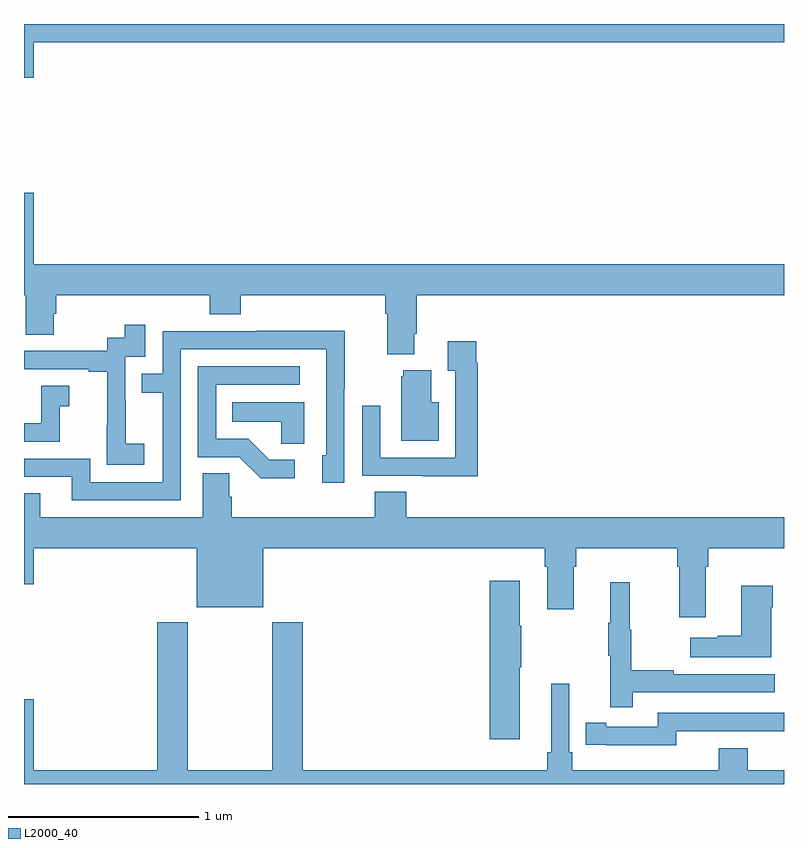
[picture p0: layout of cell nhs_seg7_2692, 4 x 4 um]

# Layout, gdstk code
import gdstk
lib = gdstk.Library(unit=1e-6, precision=1e-09)
def P(c, l, *ps):  # polygons
    for p in ps: c.add(gdstk.Polygon(p, *l))
L2000_40 = (2000, 40)

nhs_seg7_2692 = lib.new_cell('nhs_seg7_2692')
P(nhs_seg7_2692, L2000_40, [(285.052,1045.904),(289,1045.904),(289,1046),(285,1046),(285,1045.716),(285.052,1045.716)],
  [(287.053,1044.37),(287.066,1044.37),(287.066,1044.572),(289,1044.572),(289,1044.736),(285.052,1044.736),(285.052,1045.111),(285,1045.111),(285,1044.572),(285.01,1044.572),(285.01,1044.364),(285.157,1044.364),(285.157,1044.474),(285.17,1044.474),(285.17,1044.572),(285.977,1044.572),(285.977,1044.473),(286.142,1044.473),(286.142,1044.572),(286.901,1044.572),(286.901,1044.476),(286.913,1044.476),(286.913,1044.263),(287.053,1044.263)],
  [(285.634,1043.791),(285.536,1043.791),(285.536,1044.02),(285.534,1044.02),(285.534,1044.249),(285.639,1044.249),(285.639,1044.418),(285.531,1044.418),(285.531,1044.348),(285.438,1044.348),(285.438,1044.279),(285,1044.279),(285,1044.183),(285.341,1044.183),(285.341,1044.171),(285.437,1044.171),(285.437,1043.887),(285.436,1043.887),(285.436,1043.681),(285.634,1043.681)],
  [(285.825,1044.288),(286.59,1044.288),(286.59,1043.73),(286.571,1043.73),(286.571,1043.586),(286.686,1043.586),(286.686,1044.079),(286.689,1044.079),(286.689,1044.386),(286.225,1044.386),(286.225,1044.384),(285.729,1044.384),(285.729,1044.159),(285.619,1044.159),(285.619,1044.058),(285.729,1044.058),(285.729,1043.589),(285.348,1043.589),(285.348,1043.712),(285,1043.712),(285,1043.616),(285.251,1043.616),(285.251,1043.493),(285.825,1043.493)],
  [(287.387,1044.218),(287.38,1044.218),(287.38,1044.331),(287.231,1044.331),(287.231,1044.175),(287.271,1044.175),(287.271,1043.718),(286.875,1043.718),(286.875,1043.992),(286.779,1043.992),(286.779,1043.622),(287.095,1043.622),(287.095,1043.621),(287.387,1043.621)],
  [(286.426,1043.706),(286.291,1043.706),(286.18,1043.817),(286.011,1043.817),(286.011,1044.102),(286.45,1044.102),(286.45,1044.198),(285.915,1044.198),(285.915,1043.721),(286.134,1043.721),(286.247,1043.609),(286.426,1043.609)],
  [(287.182,1044.01),(287.143,1044.01),(287.143,1044.178),(286.997,1044.178),(286.997,1044.147),(286.985,1044.147),(286.985,1043.807),(287.182,1043.807)],
  [(285.189,1043.987),(285.238,1043.987),(285.238,1044.097),(285.09,1044.097),(285.09,1043.898),(285,1043.898),(285,1043.802),(285.189,1043.802)],
  [(286.474,1044.01),(286.096,1044.01),(286.096,1043.906),(286.353,1043.906),(286.353,1043.791),(286.474,1043.791)],
  [(288.589,1043.144),(288.602,1043.144),(288.602,1043.24),(289,1043.24),(289,1043.404),(287.012,1043.404),(287.012,1043.537),(286.847,1043.537),(286.847,1043.404),(286.094,1043.404),(286.094,1043.513),(286.08,1043.513),(286.08,1043.636),(285.941,1043.636),(285.941,1043.404),(285.085,1043.404),(285.085,1043.531),(285,1043.531),(285,1043.052),(285.052,1043.052),(285.052,1043.24),(285.908,1043.24),(285.908,1042.931),(286.258,1042.931),(286.258,1043.24),(287.741,1043.24),(287.741,1043.144),(287.753,1043.144),(287.753,1042.92),(287.893,1042.92),(287.893,1043.144),(287.906,1043.144),(287.906,1043.24),(288.437,1043.24),(288.437,1043.144),(288.449,1043.144),(288.449,1042.878),(288.589,1042.878)],
  [(287.608,1042.615),(287.616,1042.615),(287.616,1042.832),(287.608,1042.832),(287.608,1043.071),(287.45,1043.071),(287.45,1042.236),(287.608,1042.236)],
  [(288.203,1042.482),(288.952,1042.482),(288.952,1042.578),(288.419,1042.578),(288.419,1042.598),(288.196,1042.598),(288.196,1042.812),(288.188,1042.812),(288.188,1043.062),(288.086,1043.062),(288.086,1042.849),(288.075,1042.849),(288.075,1042.675),(288.086,1042.675),(288.086,1042.404),(288.203,1042.404)],
  [(288.934,1042.931),(288.942,1042.931),(288.942,1043.044),(288.776,1043.044),(288.776,1042.781),(288.65,1042.781),(288.65,1042.771),(288.507,1042.771),(288.507,1042.667),(288.934,1042.667)],
  [(289,1042.072),(288.809,1042.072),(288.809,1042.189),(288.656,1042.189),(288.656,1042.072),(287.885,1042.072),(287.885,1042.168),(287.871,1042.168),(287.871,1042.528),(287.774,1042.528),(287.774,1042.168),(287.755,1042.168),(287.755,1042.072),(286.466,1042.072),(286.466,1042.852),(286.306,1042.852),(286.306,1042.072),(285.861,1042.072),(285.861,1042.852),(285.701,1042.852),(285.701,1042.072),(285.052,1042.072),(285.052,1042.447),(285,1042.447),(285,1042),(289,1042)],
  [(288.432,1042.278),(288.892,1042.278),(288.892,1042.277),(289,1042.277),(289,1042.374),(288.336,1042.374),(288.336,1042.302),(288.064,1042.302),(288.064,1042.322),(287.956,1042.322),(287.956,1042.206),(288.064,1042.206),(288.064,1042.205),(288.432,1042.205)])

lib.write_gds('nhs_seg7_2692.gds')
